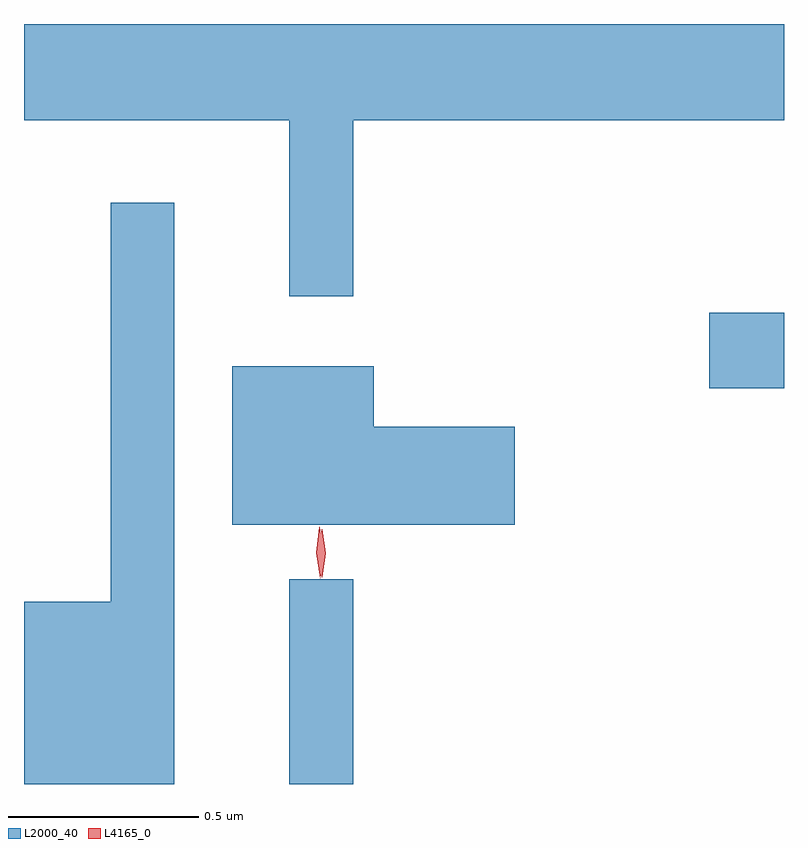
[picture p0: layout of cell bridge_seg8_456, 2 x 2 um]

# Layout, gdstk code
import gdstk
lib = gdstk.Library(unit=1e-6, precision=1e-09)
def R(c, l, rs):  # rectangles x0, y0, x1, y1
    for r in rs: c.add(gdstk.rectangle(r[:2], r[2:], *l))
def P(c, l, *ps):  # polygons
    for p in ps: c.add(gdstk.Polygon(p, *l))
L2000_40 = (2000, 40)
L4165_0 = (4165, 0)

bridge_seg8_456 = lib.new_cell('bridge_seg8_456')
R(bridge_seg8_456, L2000_40, [(984.871,1830.229,985.039,1830.768), (985.976,1831.271,986.173,1831.469)])
P(bridge_seg8_456, L2000_40, [(985.039,1831.976),(986.173,1831.976),(986.173,1832.229),(984.173,1832.229),(984.173,1831.976),(984.871,1831.976),(984.871,1831.513),(985.039,1831.513)],
  [(984.569,1831.758),(984.401,1831.758),(984.401,1830.709),(984.173,1830.709),(984.173,1830.229),(984.569,1830.229)],
  [(985.464,1831.169),(985.094,1831.169),(985.094,1831.329),(984.721,1831.329),(984.721,1830.911),(985.464,1830.911)])
P(bridge_seg8_456, L4165_0, [(984.952,1830.77),(984.952,1830.77),(984.942,1830.838),(984.95,1830.905),(984.951,1830.906),(984.951,1830.905),(984.961,1830.838),(984.953,1830.77)],
  [(984.957,1830.773),(984.957,1830.773),(984.947,1830.836),(984.957,1830.899),(984.957,1830.9),(984.958,1830.899),(984.967,1830.836),(984.958,1830.773)])

lib.write_gds('bridge_seg8_456.gds')
